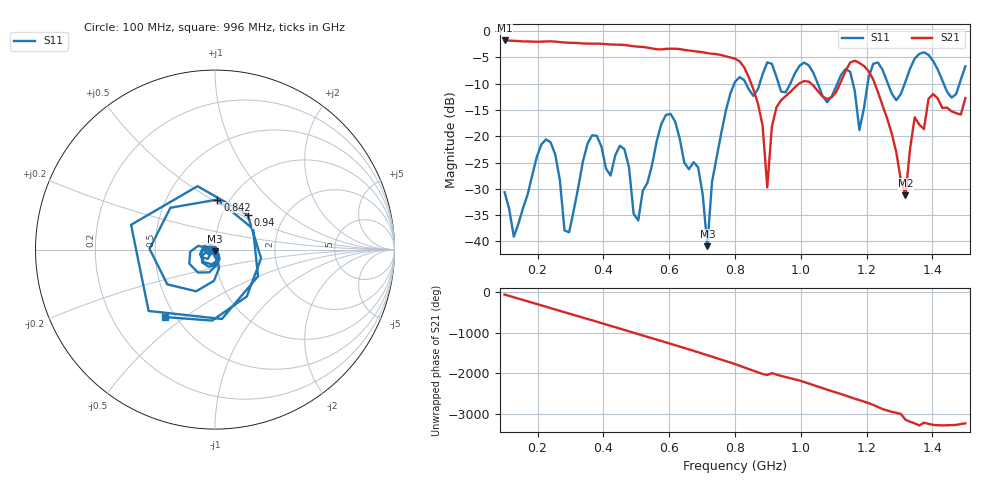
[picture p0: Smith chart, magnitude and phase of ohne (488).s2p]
! NanoVNA-App
! Date: 2025-09-25 14:24:36
! Start: 100MHz Stop: 1,5GHz Points: 101
! S-Parameter data: F S11 S21 S12 S22
# Hz S RI R 50
!  Frequency  S11_Real  S11_Imag  S21_Real  S21_Imag  S12_Real  S12_Imag  S22_Real  S22_Imag
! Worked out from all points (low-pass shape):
!   101 points, 100 MHz to 1.5 GHz, reference 50 ohm
!   highest |S21| = -1.79 dB at 100 MHz (marker M1); lowest = -31.2 dB at 1.318 GHz (marker M2)
!   |S21| within 3 dB of the highest: start of sweep to 771.4 MHz
!   lowest |S11| = -40.9 dB at 716 MHz (marker M3), VSWR 1.02, Z = 49.8 - j0.888 ohm
!   |S11| at or under -10 dB: start of sweep to 797.9 MHz; 833.2 MHz to 875 MHz (41.78 MHz wide, 4.89 % of centre); 1.052 GHz to 1.111 GHz (59.37 MHz wide, 5.49 % of centre) (the widest 3 of 7)
!   S12 and S22 are empty: the file has one direction only
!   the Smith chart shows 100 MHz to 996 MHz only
!   S11 on the Smith chart (normalised r, x): 100 MHz: 0.94, -0.01; 842 MHz: 0.88, +0.53; 940 MHz: 1.31, +0.55; 996 MHz: 0.44, -0.42
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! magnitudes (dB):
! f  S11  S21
! 100 MHz  -30.6  -1.8
! 128 MHz  -39.1  -1.9
! 226 MHz  -20.6  -2.0
! 296 MHz  -38.3  -2.2
! 338 MHz  -24.8  -2.4
! 464 MHz  -22.5  -2.7
! 506 MHz  -36.0  -3.0
! 576 MHz  -17.7  -3.5
! 688 MHz  -25.9  -3.9
! 716 MHz  -40.9  -4.2
! 800 MHz  -9.7  -5.3
! 842 MHz  -11.1  -8.8
! 898 MHz  -6.0  -29.7
! 940 MHz  -11.5  -13.2
! 996 MHz  -6.6  -9.9
! 1.038 GHz  -7.9  -10.4
! 1.178 GHz  -18.8  -6.1
! 1.22 GHz  -6.2  -9.2
! 1.276 GHz  -11.8  -19.4
! 1.318 GHz  -9.6  -31.2
! 1.346 GHz  -5.2  -16.4
! 1.5 GHz  -6.7  -12.7
